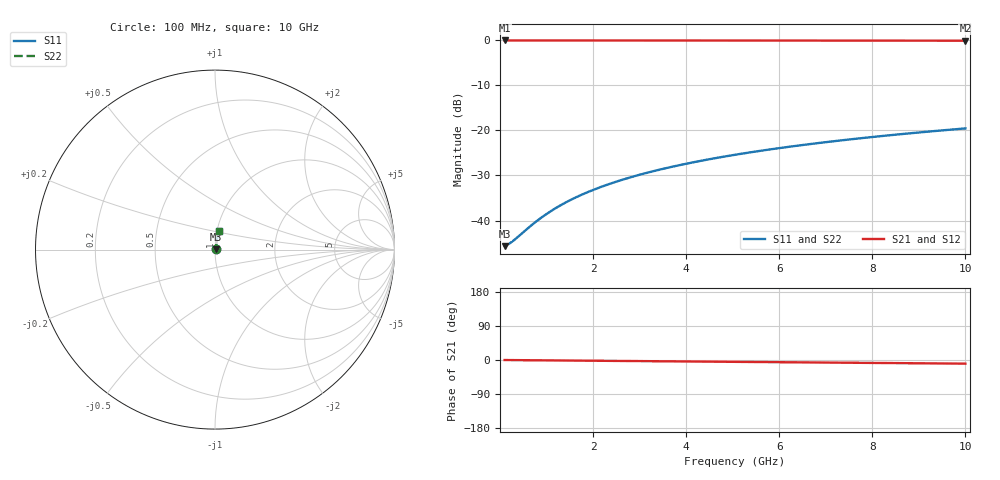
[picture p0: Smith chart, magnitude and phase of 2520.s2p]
# Hz S RI R 50.00
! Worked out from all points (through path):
!   100 points, 100 MHz to 10 GHz, reference 50 ohm
!   highest |S21| = -0.04 dB at 100 MHz (marker M1); lowest = -0.1 dB at 10 GHz (marker M2)
!   group delay of S21, straight-line fit = 2.67 ps
!   lowest |S11| = -45.7 dB at 100 MHz (marker M3), VSWR 1.01, Z = 50.5 + j0.106 ohm
!   |S11| at or under -10 dB: start of sweep to end of sweep
!   |S22| runs from -45.7 to -19.6 dB; largest |S21 - S12| = 0
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1e8  0.00508 0.00105  0.9949 -0.00167  0.9949 -0.00167  0.00508 0.00105
2e8  0.00512 0.0021  0.9949 -0.00335  0.9949 -0.00335  0.00512 0.0021
3e8  0.00516 0.00315  0.9948 -0.00502  0.9948 -0.00502  0.00516 0.00315
7e8  0.00529 0.00735  0.9947 -0.0117  0.9947 -0.0117  0.00529 0.00735
8e8  0.00533 0.0084  0.9947 -0.0134  0.9947 -0.0134  0.00533 0.0084
1e9  0.00542 0.0105  0.9946 -0.0167  0.9946 -0.0167  0.00542 0.0105
1.2e9  0.00551 0.0126  0.9945 -0.0201  0.9945 -0.0201  0.00551 0.0126
1.4e9  0.00562 0.0147  0.9943 -0.0234  0.9943 -0.0234  0.00562 0.0147
1.6e9  0.00574 0.0168  0.9942 -0.0268  0.9942 -0.0268  0.00574 0.0168
1.8e9  0.00588 0.0189  0.994 -0.0301  0.994 -0.0301  0.00588 0.0189
2.1e9  0.0061 0.022  0.9938 -0.0351  0.9938 -0.0351  0.0061 0.022
2.5e9  0.00645 0.0262  0.9934 -0.0418  0.9934 -0.0418  0.00645 0.0262
2.9e9  0.00686 0.0304  0.993 -0.0485  0.993 -0.0485  0.00686 0.0304
3.4e9  0.00744 0.0356  0.9923 -0.0568  0.9923 -0.0568  0.00744 0.0356
3.8e9  0.00796 0.0397  0.9917 -0.0635  0.9917 -0.0635  0.00796 0.0397
4.2e9  0.00854 0.0439  0.9911 -0.0701  0.9911 -0.0701  0.00854 0.0439
5.1e9  0.0101 0.0532  0.9894 -0.085  0.9894 -0.085  0.0101 0.0532
5.9e9  0.0116 0.0614  0.9877 -0.0983  0.9877 -0.0983  0.0116 0.0614
6.7e9  0.0134 0.0696  0.9857 -0.1114  0.9857 -0.1114  0.0134 0.0696
7.5e9  0.0154 0.0777  0.9834 -0.1246  0.9834 -0.1246  0.0154 0.0777
8.4e9  0.0179 0.0867  0.9806 -0.1392  0.9806 -0.1392  0.0179 0.0867
1e10  0.0231 0.1026  0.9749 -0.1651  0.9749 -0.1651  0.0231 0.1026
